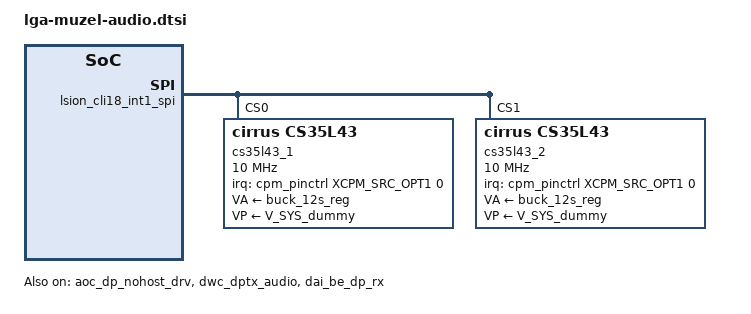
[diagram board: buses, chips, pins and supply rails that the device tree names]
// SPDX-License-Identifier: GPL-2.0-only
/*
 * muzel common audio device tree source
 *
 * Copyright 2024 Google LLC
 */

/* DP audio */
&aoc_dp_nohost_drv {
	status = "ok";
};

/* DP audio */
&dai_fe_dp_dma_nohost_rx {
	status = "ok";
};

/* DP audio */
&dwc_dptx_audio {
	status = "ok";
};

/* DP audio */
&dai_be_dp_rx {
	status = "ok";
	codec {
		sound-dai = <&dwc_dptx_audio>;
	};
};

&dai_be_tdm0_rx {
	codec {
		sound-dai = <&cs35l43_1 0>,
			<&cs35l43_2 0>;
	};
};

&dai_be_tdm0_tx {
	codec {
		sound-dai = <&cs35l43_1 0>,
			<&cs35l43_2 0>;
	};
};

&aoc_snd_card {
	clks {
		sys {
			sys@cs35l43_l {
				comp = <&cs35l43_1>;
				src = "BCLK";
				/* clk id */
				id = <0>;
				/* clk source */
				srcid = <0>;
				/* in clk multiple */
				in_mul = <1>;
				/* out clk multiple */
				out_mul = <1>;
			};

			sys@cs35l43_r {
				comp = <&cs35l43_2>;
				src = "BCLK";
				/* clk id */
				id = <0>;
				/* clk source */
				srcid = <0>;
				/* in clk multiple */
				in_mul = <1>;
				/* out clk multiple */
				out_mul = <1>;
			};

		};
	};
};

&xaoc_spi1_sclk {
	drive-strength = <1>;
};

&xaoc_spi1_miso {
	drive-strength = <1>;
};

&xaoc_spi1_mosi {
	drive-strength = <1>;
};

&cli18_int1_spi_cs1_cs2_gpio_func {
	drive-strength = <1>;
};

&lsion_cli18_int1_spi {
	cs35l43_1: cs35l43@0 {
		#sound-dai-cells = <1>;
		compatible = "cirrus,cs35l43";
		spi-max-frequency = <10000000>;
		reg = <0>;

		status = "okay";

		pinctrl-names = "default";
		pinctrl-0 = <&ap2amp_reset_l_1v2 &amp2ap_irq_od_l_1v2>;

		interrupt-parent = <&cpm_pinctrl>;
		interrupts = <XCPM_SRC_OPT1 0 0>;

		reset-gpios = <AP2AMP_RESET_L_1V2(GPIO_ACTIVE_HIGH)>;

		VA-supply = <&buck_12s_reg>;
		VP-supply = <&V_SYS_dummy>;

		cirrus,bst-ipk-ma = <4000>;
		cirrus,asp-sdout-hiz = <3>;
		cirrus,gpio2-src-sel = <2>;
		cirrus,tuning-has-prefix;
		cirrus,hw-noise-gate-select = <63>;
		cirrus,low-pwr-mode-standby;
	};

	cs35l43_2: cs35l43@1 {
		#sound-dai-cells = <1>;
		sound-name-prefix = "R";
		compatible = "cirrus,cs35l43";
		spi-max-frequency = <10000000>;
		reg = <1>;

		status = "okay";

		interrupt-parent = <&cpm_pinctrl>;
		interrupts = <XCPM_SRC_OPT1 0 0>;

		reset-gpios = <AP2AMP_RESET_L_1V2(GPIO_ACTIVE_HIGH)>;

		VA-supply = <&buck_12s_reg>;
		VP-supply = <&V_SYS_dummy>;

		cirrus,bst-ipk-ma = <4000>;
		cirrus,asp-sdout-hiz = <3>;
		cirrus,gpio2-src-sel = <2>;
		cirrus,tuning-has-prefix;
		cirrus,hw-noise-gate-select = <63>;
		cirrus,low-pwr-mode-standby;
	};

};

&pmics2hac_amp_en {
	/* Audio - Amp */
	/* pins = "DA9188_SUB_GPIO_14"; */
	pins = "gpio14";
	drive-strength = <2>;
};

&aoc_snd_card {
	pinctrl-names = "default";
	pinctrl-0 = <&pmics2hac_amp_en>;

	hac_amp_en-gpios = <PMICS2HAC_AMP_EN(GPIO_ACTIVE_HIGH)>;
};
